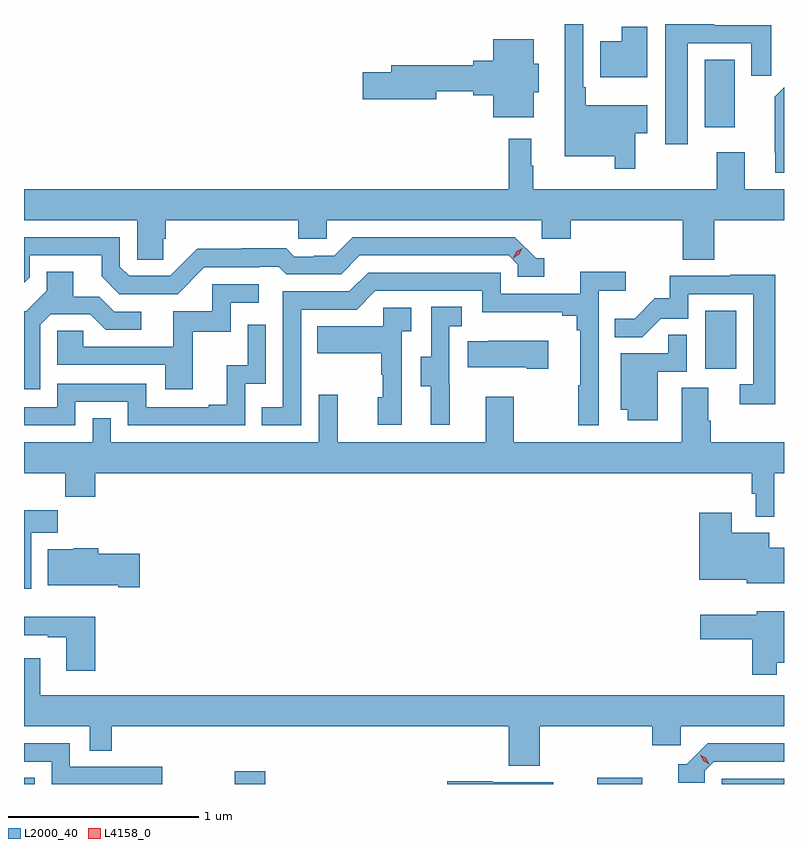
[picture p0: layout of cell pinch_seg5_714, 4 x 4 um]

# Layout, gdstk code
import gdstk
lib = gdstk.Library(unit=1e-6, precision=1e-09)
def R(c, l, rs):  # rectangles x0, y0, x1, y1
    for r in rs: c.add(gdstk.rectangle(r[:2], r[2:], *l))
def P(c, l, *ps):  # polygons
    for p in ps: c.add(gdstk.Polygon(p, *l))
L2000_40 = (2000, 40)
L4158_0 = (4158, 0)

pinch_seg5_714 = lib.new_cell('pinch_seg5_714')
R(pinch_seg5_714, L2000_40, [(1079.747,833.813,1079.803,833.846), (1080.857,833.813,1081.018,833.881), (1082.763,833.813,1083.002,833.846), (1083.42,833.813,1083.747,833.841), (1083.332,835.998,1083.496,836.305), (1083.329,837.27,1083.487,837.626)])
P(pinch_seg5_714, L2000_40, [(1083.241,837.711),(1083.575,837.711),(1083.575,837.54),(1083.679,837.54),(1083.679,837.807),(1083.379,837.807),(1083.379,837.813),(1083.122,837.813),(1083.122,837.18),(1083.241,837.18)],
  [(1082.965,837.238),(1083.028,837.238),(1083.028,837.385),(1082.704,837.385),(1082.704,837.481),(1082.691,837.481),(1082.691,837.813),(1082.594,837.813),(1082.594,837.116),(1082.856,837.116),(1082.856,837.051),(1082.965,837.051)],
  [(1083.028,837.799),(1082.894,837.799),(1082.894,837.721),(1082.78,837.721),(1082.78,837.533),(1083.028,837.533)],
  [(1082.431,837.453),(1082.455,837.453),(1082.455,837.603),(1082.431,837.603),(1082.431,837.733),(1082.216,837.733),(1082.216,837.62),(1082.111,837.62),(1082.111,837.596),(1081.679,837.596),(1081.679,837.56),(1081.53,837.56),(1081.53,837.418),(1081.918,837.418),(1081.918,837.46),(1082.111,837.46),(1082.111,837.437),(1082.216,837.437),(1082.216,837.323),(1082.431,837.323)],
  [(1083.747,837.48),(1083.698,837.431),(1083.698,837.139),(1083.701,837.139),(1083.701,837.029),(1083.747,837.029)],
  [(1080.479,836.682),(1080.494,836.682),(1080.494,836.78),(1081.191,836.78),(1081.191,836.682),(1081.341,836.682),(1081.341,836.78),(1082.472,836.78),(1082.472,836.682),(1082.624,836.682),(1082.624,836.78),(1083.215,836.78),(1083.215,836.572),(1083.38,836.572),(1083.38,836.78),(1083.747,836.78),(1083.747,836.944),(1083.541,836.944),(1083.541,837.139),(1083.394,837.139),(1083.394,836.944),(1082.428,836.944),(1082.428,837.068),(1082.416,837.068),(1082.416,837.208),(1082.299,837.208),(1082.299,836.944),(1079.747,836.944),(1079.747,836.78),(1080.342,836.78),(1080.342,836.572),(1080.479,836.572)],
  [(1080.696,836.532),(1080.989,836.532),(1080.989,836.535),(1081.088,836.535),(1081.127,836.496),(1081.416,836.496),(1081.515,836.595),(1082.298,836.595),(1082.346,836.547),(1082.346,836.484),(1082.485,836.484),(1082.485,836.58),(1082.442,836.58),(1082.331,836.691),(1081.478,836.691),(1081.379,836.592),(1081.272,836.592),(1081.272,836.589),(1081.169,836.589),(1081.127,836.632),(1080.894,836.632),(1080.894,836.629),(1080.658,836.629),(1080.516,836.487),(1080.3,836.487),(1080.252,836.535),(1080.252,836.691),(1079.747,836.691),(1079.747,836.45),(1079.778,836.481),(1079.778,836.595),(1080.155,836.595),(1080.155,836.485),(1080.249,836.391),(1080.555,836.391)],
  [(1081.206,836.31),(1081.497,836.31),(1081.596,836.409),(1082.16,836.409),(1082.16,836.297),(1082.579,836.297),(1082.579,836.278),(1082.656,836.278),(1082.656,836.201),(1082.675,836.201),(1082.675,835.913),(1082.664,835.913),(1082.664,835.701),(1082.772,835.701),(1082.772,836.408),(1082.914,836.408),(1082.914,836.51),(1082.675,836.51),(1082.675,836.394),(1082.256,836.394),(1082.256,836.505),(1081.559,836.505),(1081.46,836.406),(1081.11,836.406),(1081.11,835.797),(1080.997,835.797),(1080.997,835.701),(1081.206,835.701)],
  [(1079.832,836.229),(1079.889,836.286),(1080.095,836.286),(1080.176,836.205),(1080.364,836.205),(1080.364,836.298),(1080.222,836.298),(1080.142,836.378),(1080.007,836.378),(1080.007,836.51),(1079.867,836.51),(1079.867,836.408),(1079.76,836.301),(1079.747,836.301),(1079.747,835.89),(1079.832,835.89)],
  [(1083.701,836.492),(1083.463,836.492),(1083.463,836.487),(1083.145,836.487),(1083.145,836.37),(1083.068,836.37),(1082.961,836.263),(1082.857,836.263),(1082.857,836.165),(1083.001,836.165),(1083.098,836.262),(1083.243,836.262),(1083.243,836.391),(1083.585,836.391),(1083.585,835.917),(1083.513,835.917),(1083.513,835.812),(1083.701,835.812)],
  [(1080.635,836.193),(1080.834,836.193),(1080.834,836.346),(1080.982,836.346),(1080.982,836.442),(1080.738,836.442),(1080.738,836.301),(1080.533,836.301),(1080.533,836.115),(1080.059,836.115),(1080.059,836.199),(1079.922,836.199),(1079.922,836.019),(1080.491,836.019),(1080.491,835.89),(1080.635,835.89)],
  [(1081.988,835.917),(1081.986,835.917),(1081.986,836.221),(1082.05,836.221),(1082.05,836.324),(1081.89,836.324),(1081.89,836.061),(1081.835,836.061),(1081.835,835.906),(1081.889,835.906),(1081.889,835.704),(1081.988,835.704)],
  [(1081.734,836.195),(1081.786,836.195),(1081.786,836.319),(1081.638,836.319),(1081.638,836.221),(1081.291,836.221),(1081.291,836.081),(1081.626,836.081),(1081.626,835.967),(1081.636,835.967),(1081.636,835.848),(1081.61,835.848),(1081.61,835.704),(1081.734,835.704)],
  [(1080.018,835.824),(1080.294,835.824),(1080.294,835.701),(1080.912,835.701),(1080.912,835.92),(1081.02,835.92),(1081.02,836.23),(1080.924,836.23),(1080.924,836.018),(1080.815,836.018),(1080.815,835.81),(1080.719,835.81),(1080.719,835.797),(1080.39,835.797),(1080.39,835.92),(1079.922,835.92),(1079.922,835.797),(1079.747,835.797),(1079.747,835.701),(1080.018,835.701)],
  [(1083.082,835.983),(1083.234,835.983),(1083.234,836.177),(1083.139,836.177),(1083.139,836.079),(1082.888,836.079),(1082.888,835.784),(1082.924,835.784),(1082.924,835.728),(1083.082,835.728)],
  [(1082.506,836.146),(1082.191,836.146),(1082.191,836.143),(1082.083,836.143),(1082.083,836.006),(1082.393,836.006),(1082.393,835.999),(1082.506,835.999)],
  [(1083.695,835.448),(1083.747,835.448),(1083.747,835.612),(1083.362,835.612),(1083.362,835.724),(1083.349,835.724),(1083.349,835.898),(1083.209,835.898),(1083.209,835.612),(1082.325,835.612),(1082.325,835.852),(1082.177,835.852),(1082.177,835.612),(1081.397,835.612),(1081.397,835.861),(1081.299,835.861),(1081.299,835.612),(1080.204,835.612),(1080.204,835.739),(1080.108,835.739),(1080.108,835.612),(1079.747,835.612),(1079.747,835.448),(1079.965,835.448),(1079.965,835.324),(1080.122,835.324),(1080.122,835.448),(1083.577,835.448),(1083.577,835.341),(1083.597,835.341),(1083.597,835.22),(1083.695,835.22)],
  [(1079.785,835.136),(1079.924,835.136),(1079.924,835.255),(1079.747,835.255),(1079.747,834.84),(1079.785,834.84)],
  [(1083.747,835.057),(1083.67,835.057),(1083.67,835.135),(1083.472,835.135),(1083.472,835.24),(1083.302,835.24),(1083.302,834.887),(1083.552,834.887),(1083.552,834.869),(1083.747,834.869)],
  [(1080.355,835.026),(1080.137,835.026),(1080.137,835.054),(1080.006,835.054),(1080.006,835.048),(1079.873,835.048),(1079.873,834.86),(1080.242,834.86),(1080.242,834.848),(1080.355,834.848)],
  [(1083.709,834.452),(1083.747,834.452),(1083.747,834.721),(1083.603,834.721),(1083.603,834.703),(1083.306,834.703),(1083.306,834.574),(1083.58,834.574),(1083.58,834.387),(1083.709,834.387)],
  [(1080.122,834.694),(1079.747,834.694),(1079.747,834.597),(1079.873,834.597),(1079.873,834.585),(1079.969,834.585),(1079.969,834.408),(1080.122,834.408)],
  [(1082.462,834.116),(1083.053,834.116),(1083.053,834.018),(1083.204,834.018),(1083.204,834.116),(1083.747,834.116),(1083.747,834.28),(1079.833,834.28),(1079.833,834.475),(1079.747,834.475),(1079.747,834.116),(1080.093,834.116),(1080.093,833.989),(1080.209,833.989),(1080.209,834.116),(1082.297,834.116),(1082.297,833.908),(1082.462,833.908)],
  [(1080.475,833.904),(1079.988,833.904),(1079.988,834.027),(1079.747,834.027),(1079.747,833.931),(1079.892,833.931),(1079.892,833.813),(1080.475,833.813)],
  [(1083.33,833.883),(1083.378,833.931),(1083.747,833.931),(1083.747,834.027),(1083.345,834.027),(1083.234,833.916),(1083.191,833.916),(1083.191,833.82),(1083.33,833.82)],
  [(1082.532,833.823),(1082.213,833.823),(1082.213,833.828),(1081.975,833.828),(1081.975,833.813),(1082.532,833.813)])
P(pinch_seg5_714, L4158_0, [(1083.353,833.916),(1083.322,833.935),(1083.305,833.968),(1083.305,833.968),(1083.306,833.968),(1083.337,833.949),(1083.354,833.916),(1083.354,833.916)],
  [(1082.322,836.581),(1082.322,836.581),(1082.339,836.614),(1082.37,836.632),(1082.37,836.632),(1082.37,836.632),(1082.353,836.6),(1082.322,836.581)])

lib.write_gds('pinch_seg5_714.gds')
